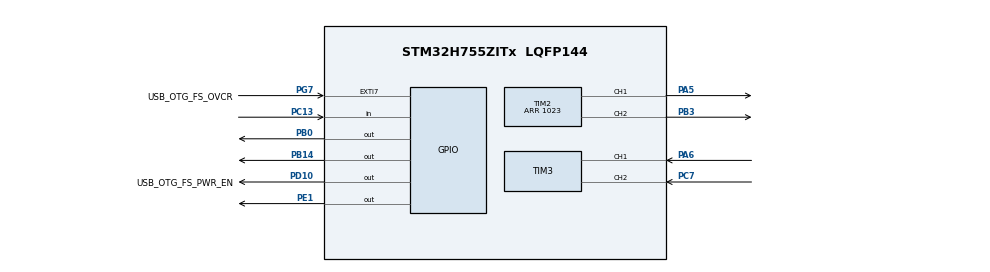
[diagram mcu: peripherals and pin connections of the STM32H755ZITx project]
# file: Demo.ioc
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CortexM4.IPs=FATFS_M4\:I,FREERTOS_M4\:I,IWDG2\:I,RCC,WWDG2\:I,DMA,BDMA,MDMA,NVIC2\:I,ETH,USART3,DEBUG,PDM2PCM_M4\:I,PWR,RESMGR_UTILITY,SYS_M4\:I,USB_DEVICE_M4\:I,USB_HOST_M4\:I,CORTEX_M4\:I,GPIO,OPENAMP_M4\:I,VREFBUF,NUCLEO-H755ZI-Q
CortexM7.IPs=FATFS_M7\:I,FREERTOS_M7\:I,IWDG1\:I,RCC\:I,WWDG1\:I,DMA\:I,BDMA\:I,MDMA\:I,NVIC1\:I,ETH\:I,USART3\:I,USB_OTG_FS\:I,SYS\:I,CORTEX_M7\:I,DEBUG\:I,PDM2PCM_M7\:I,PWR\:I,RESMGR_UTILITY\:I,USB_DEVICE_M7\:I,USB_HOST_M7\:I,GPIO\:I,OPENAMP_M7\:I,VREFBUF\:I,NUCLEO-H755ZI-Q\:I,MEMORYMAP\:I,TIM2\:I,TIM3\:I
Mcu.Family=STM32H7
Mcu.Name=STM32H755ZITx
Mcu.Package=LQFP144
NUCLEO-H755ZI-Q.BUTTON=1
NUCLEO-H755ZI-Q.LD1=true
NUCLEO-H755ZI-Q.LD2=true
NUCLEO-H755ZI-Q.LD3=true
NUCLEO-H755ZI-Q.VCP=true
NVIC1.EXTI15_10_IRQn=true\:0\:0\:false\:false\:true\:false\:true\:true
NVIC1.PriorityGroup=NVIC_PRIORITYGROUP_4
NVIC2.PriorityGroup=NVIC_PRIORITYGROUP_4
PA1.PinAttribute=CortexM7
PA1.Signal=ETH_REF_CLK
PA11.PinAttribute=CortexM7
PA11.Signal=USB_OTG_FS_DM
PA12.PinAttribute=CortexM7
PA12.Signal=USB_OTG_FS_DP
PA2.PinAttribute=CortexM7
PA2.Signal=ETH_MDIO
PA5.PinAttribute=CortexM7
PA5.Signal=S_TIM2_CH1_ETR
PA6.PinAttribute=CortexM7
PA6.Signal=S_TIM3_CH1
PA7.PinAttribute=CortexM7
PA7.Signal=ETH_CRS_DV
PA8.PinAttribute=CortexM7
PA8.Signal=USB_OTG_FS_SOF
PA9.PinAttribute=CortexM7
PA9.Signal=USB_OTG_FS_VBUS
PB0.Signal=GPIO_Output
PB13.PinAttribute=CortexM7
PB13.Signal=ETH_TXD1
PB14.Signal=GPIO_Output
PB3\ (JTDO/TRACESWO).PinAttribute=CortexM7
PB3\ (JTDO/TRACESWO).Signal=S_TIM2_CH2
PC1.PinAttribute=CortexM7
PC1.Signal=ETH_MDC
PC13.Signal=GPIO_Input
PC14-OSC32_IN\ (OSC32_IN).PinAttribute=Free
PC14-OSC32_IN\ (OSC32_IN).Signal=RCC_OSC32_IN
PC15-OSC32_OUT\ (OSC32_OUT).PinAttribute=Free
PC15-OSC32_OUT\ (OSC32_OUT).Signal=RCC_OSC32_OUT
PC4.PinAttribute=CortexM7
PC4.Signal=ETH_RXD0
PC5.PinAttribute=CortexM7
PC5.Signal=ETH_RXD1
PC7.PinAttribute=CortexM7
PC7.Signal=S_TIM3_CH2
PD10.GPIO_Label=USB_OTG_FS_PWR_EN
PD10.PinAttribute=Free
PD10.Signal=GPIO_Output
PD8.Signal=USART3_TX
PD9.Signal=USART3_RX
PE1.Signal=GPIO_Output
PG11.PinAttribute=CortexM7
PG11.Signal=ETH_TX_EN
PG13.PinAttribute=CortexM7
PG13.Signal=ETH_TXD0
PG7.GPIO_Label=USB_OTG_FS_OVCR
PG7.PinAttribute=Free
PG7.Signal=GPXTI7
PH0-OSC_IN\ (PH0).PinAttribute=Free
PH0-OSC_IN\ (PH0).Signal=RCC_OSC_IN
PH1-OSC_OUT\ (PH1).PinAttribute=Free
PH1-OSC_OUT\ (PH1).Signal=RCC_OSC_OUT
ProjectManager.HeapSize=M4-0x200,M7-0x200
ProjectManager.StackSize=M4-0x400,M7-0x400
ProjectManager.TargetToolchain=STM32CubeIDE
RCC.ADCFreq_Value=129000000
RCC.APB1Freq_Value=64000000
RCC.APB2Freq_Value=64000000
RCC.APB3Freq_Value=64000000
RCC.APB4Freq_Value=64000000
RCC.CortexFreq_Value=64000000
RCC.DIVM1=5
RCC.DIVN1=48
RCC.DIVQ1=5
RCC.HCLKFreq_Value=64000000
RCC.PLL2FRACN=0
RCC.PLL3FRACN=0
RCC.PLLFRACN=0
RCC.SYSCLKFreq_VALUE=64000000
RCC.SupplySource=PWR_DIRECT_SMPS_SUPPLY
RCC.USBFreq_Value=122880000
SH.S_TIM2_CH1_ETR.0=TIM2_CH1,PWM Generation1 CH1
SH.S_TIM2_CH2.0=TIM2_CH2,PWM Generation2 CH2
SH.S_TIM3_CH1.0=TIM3_CH1,Encoder_Interface
SH.S_TIM3_CH2.0=TIM3_CH2,Encoder_Interface
TIM2.Channel-PWM\ Generation1\ CH1=TIM_CHANNEL_1
TIM2.Channel-PWM\ Generation2\ CH2=TIM_CHANNEL_2
TIM2.Period=1023
TIM3.EncoderMode=TIM_ENCODERMODE_TI12
VP_MEMORYMAP_VS_MEMORYMAP.Mode=CurAppReg
VP_NUCLEO-H755ZI-Q_VS_BSP_COMMON.Mode=COMMON
VP_SYS_M4_VS_Systick.Mode=SysTick
board=NUCLEO-H755ZI-Q

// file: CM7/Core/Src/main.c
/* USER CODE BEGIN Header */
/**
 ******************************************************************************
 * @file           : main.c
 * @brief          : Main program body
 ******************************************************************************
 * @attention
 *
 * Copyright (c) 2025 STMicroelectronics.
 * All rights reserved.
 *
 * This software is licensed under terms that can be found in the LICENSE file
 * in the root directory of this software component.
 * If no LICENSE file comes with this software, it is provided AS-IS.
 *
 ******************************************************************************
 */
/* USER CODE END Header */
#include "main.h"

/* USER CODE BEGIN Includes */
#include "math.h" // You MUST include math.h for fabs()
/* USER CODE END Includes */

/* USER CODE BEGIN PD */

/* DUAL_CORE_BOOT_SYNC_SEQUENCE: Define for dual core boot synchronization    */
/*                             demonstration code based on hardware semaphore */
/* This define is present in both CM7/CM4 projects                            */
/* To comment when developping/debugging on a single core                     */
#define DUAL_CORE_BOOT_SYNC_SEQUENCE

#if defined(DUAL_CORE_BOOT_SYNC_SEQUENCE)
#ifndef HSEM_ID_0
#define HSEM_ID_0 (0U) /* HW semaphore 0*/
#endif
#endif /* DUAL_CORE_BOOT_SYNC_SEQUENCE */

/* USER CODE END PD */

COM_InitTypeDef BspCOMInit;

TIM_HandleTypeDef htim2;
TIM_HandleTypeDef htim3;

void SystemClock_Config(void);
static void MX_GPIO_Init(void);
static void MX_TIM2_Init(void);
static void MX_TIM3_Init(void);

/* USER CODE BEGIN 0 */
#define DEGREES(raw_count) ((double)((raw_count) % 1203) * (360.0f / 1203.0f))

volatile uint16_t counter = 0;
// --- PID Tuning Constants (MUST BE TUNED!) ---
#define KP 2.5f                // Proportional gain
#define KI 0.1f                // Integral gain
#define KD 0.05f                // Derivative gain
#define TARGET_ANGLE 0.0f    // Your desired setpoint (e.g., 180 degrees)

// --- PID Limits ---
#define MAX_PWM 300.0f         // Max PWM value (from your 300)
#define MAX_INTEGRAL 180.0f    // Anti-windup limit (tune this)
//void HAL_TIM_PeriodElapsedCallback(TIM_HandleTypeDef *htim){
//	counter = __HAL_TIM_GET_COUNTER(htim);
//}

/* USER CODE END 0 */

int main(void) {

	/* USER CODE BEGIN Boot_Mode_Sequence_0 */
#if defined(DUAL_CORE_BOOT_SYNC_SEQUENCE)
	int32_t timeout;
#endif /* DUAL_CORE_BOOT_SYNC_SEQUENCE */
	/* USER CODE END Boot_Mode_Sequence_0 */

	/* USER CODE BEGIN Boot_Mode_Sequence_1 */
#if defined(DUAL_CORE_BOOT_SYNC_SEQUENCE)
	/* Wait until CPU2 boots and enters in stop mode or timeout*/
	timeout = 0xFFFF;
	while ((__HAL_RCC_GET_FLAG(RCC_FLAG_D2CKRDY) != RESET) && (timeout-- > 0))
		;
	if (timeout < 0) {
		Error_Handler();
	}
#endif /* DUAL_CORE_BOOT_SYNC_SEQUENCE */
	/* USER CODE END Boot_Mode_Sequence_1 */
	/* MCU Configuration--------------------------------------------------------*/

	/* Reset of all peripherals, Initializes the Flash interface and the Systick. */
	HAL_Init();

	/* Configure the system clock */
	SystemClock_Config();
	/* USER CODE BEGIN Boot_Mode_Sequence_2 */
#if defined(DUAL_CORE_BOOT_SYNC_SEQUENCE)
	/* When system initialization is finished, Cortex-M7 will release Cortex-M4 by means of
	 HSEM notification */
	/*HW semaphore Clock enable*/
	__HAL_RCC_HSEM_CLK_ENABLE();
	/*Take HSEM */
	HAL_HSEM_FastTake(HSEM_ID_0);
	/*Release HSEM in order to notify the CPU2(CM4)*/
	HAL_HSEM_Release(HSEM_ID_0, 0);
	/* wait until CPU2 wakes up from stop mode */
	timeout = 0xFFFF;
	while ((__HAL_RCC_GET_FLAG(RCC_FLAG_D2CKRDY) == RESET) && (timeout-- > 0))
		;
	if (timeout < 0) {
		Error_Handler();
	}
#endif /* DUAL_CORE_BOOT_SYNC_SEQUENCE */
	/* USER CODE END Boot_Mode_Sequence_2 */

	/* Initialize all configured peripherals */
	MX_GPIO_Init();
	MX_TIM2_Init();
	MX_TIM3_Init();
	/* USER CODE BEGIN 2 */

	BSP_PB_Init(BUTTON_USER, BUTTON_MODE_GPIO);

	HAL_TIM_PWM_Start(&htim2, TIM_CHANNEL_1);
	HAL_TIM_PWM_Start(&htim2, TIM_CHANNEL_2);

	__HAL_TIM_SET_COMPARE(&htim2, TIM_CHANNEL_1, 0);
	__HAL_TIM_SET_COMPARE(&htim2, TIM_CHANNEL_2, 0);
	counter = DEGREES(__HAL_TIM_GET_COUNTER(&htim3));

	/* USER CODE END 2 */

	/* Initialize leds */
	BSP_LED_Init(LED_GREEN);
	BSP_LED_Init(LED_YELLOW);
	BSP_LED_Init(LED_RED);

	/* Initialize USER push-button, will be used to trigger an interrupt each time it's pressed.*/
	BSP_PB_Init(BUTTON_USER, BUTTON_MODE_EXTI);

	/* Initialize COM1 port (115200, 8 bits (7-bit data + 1 stop bit), no parity */
	BspCOMInit.BaudRate = 115200;
	BspCOMInit.WordLength = COM_WORDLENGTH_8B;
	BspCOMInit.StopBits = COM_STOPBITS_1;
	BspCOMInit.Parity = COM_PARITY_NONE;
	BspCOMInit.HwFlowCtl = COM_HWCONTROL_NONE;
	if (BSP_COM_Init(COM1, &BspCOMInit) != BSP_ERROR_NONE) {
		Error_Handler();
	}

	/* Infinite loop */
	while (1) {

		/* USER CODE BEGIN 3 */

		//HAL_Delay(5);
		counter = DEGREES(__HAL_TIM_GET_COUNTER(&htim3));

		if (BSP_PB_GetState(BUTTON_USER) != GPIO_PIN_RESET) {
			HAL_Delay(25);
			if (BSP_PB_GetState(BUTTON_USER) != GPIO_PIN_RESET) {
				__HAL_TIM_SET_COMPARE(&htim2, TIM_CHANNEL_1, 0);
				__HAL_TIM_SET_COMPARE(&htim2, TIM_CHANNEL_2, 300);
				while (BSP_PB_GetState(BUTTON_USER) != GPIO_PIN_RESET) {
					counter = DEGREES(__HAL_TIM_GET_COUNTER(&htim3));
					HAL_Delay(25);
				}
			} else
				;

		}
		// PID MODE
		counter = DEGREES(__HAL_TIM_GET_COUNTER(&htim3));

		if ((counter < 2) || (counter > 357)) {
			__HAL_TIM_SET_COMPARE(&htim2, TIM_CHANNEL_1, 0);
			__HAL_TIM_SET_COMPARE(&htim2, TIM_CHANNEL_2, 0);
		}

		counter = DEGREES(__HAL_TIM_GET_COUNTER(&htim3));

		if (counter >= 180) {
			__HAL_TIM_SET_COMPARE(&htim2, TIM_CHANNEL_1, 200);
			__HAL_TIM_SET_COMPARE(&htim2, TIM_CHANNEL_2, 0);

		} else {
			__HAL_TIM_SET_COMPARE(&htim2, TIM_CHANNEL_1, 0);
			__HAL_TIM_SET_COMPARE(&htim2, TIM_CHANNEL_2, 200);

		}
	}
		/* USER CODE END 3 */
	}

	/**
	 * @brief System Clock Configuration
	 * @retval None
	 */
	void SystemClock_Config(void) {
		RCC_OscInitTypeDef RCC_OscInitStruct = { 0 };
		RCC_ClkInitTypeDef RCC_ClkInitStruct = { 0 };

		/** Supply configuration update enable
		 */
		HAL_PWREx_ConfigSupply(PWR_DIRECT_SMPS_SUPPLY);

		/** Configure the main internal regulator output voltage
		 */
		__HAL_PWR_VOLTAGESCALING_CONFIG(PWR_REGULATOR_VOLTAGE_SCALE3);

		while (!__HAL_PWR_GET_FLAG(PWR_FLAG_VOSRDY)) {
		}

		/** Initializes the RCC Oscillators according to the specified parameters
		 * in the RCC_OscInitTypeDef structure.
		 */
		RCC_OscInitStruct.OscillatorType = RCC_OSCILLATORTYPE_HSI;
		RCC_OscInitStruct.HSIState = RCC_HSI_DIV1;
		RCC_OscInitStruct.HSICalibrationValue = RCC_HSICALIBRATION_DEFAULT;
		RCC_OscInitStruct.PLL.PLLState = RCC_PLL_NONE;
		if (HAL_RCC_OscConfig(&RCC_OscInitStruct) != HAL_OK) {
			Error_Handler();
		}

		/** Initializes the CPU, AHB and APB buses clocks
		 */
		RCC_ClkInitStruct.ClockType = RCC_CLOCKTYPE_HCLK | RCC_CLOCKTYPE_SYSCLK
				| RCC_CLOCKTYPE_PCLK1 | RCC_CLOCKTYPE_PCLK2
				| RCC_CLOCKTYPE_D3PCLK1 | RCC_CLOCKTYPE_D1PCLK1;
		RCC_ClkInitStruct.SYSCLKSource = RCC_SYSCLKSOURCE_HSI;
		RCC_ClkInitStruct.SYSCLKDivider = RCC_SYSCLK_DIV1;
		RCC_ClkInitStruct.AHBCLKDivider = RCC_HCLK_DIV1;
		RCC_ClkInitStruct.APB3CLKDivider = RCC_APB3_DIV1;
		RCC_ClkInitStruct.APB1CLKDivider = RCC_APB1_DIV1;
		RCC_ClkInitStruct.APB2CLKDivider = RCC_APB2_DIV1;
		RCC_ClkInitStruct.APB4CLKDivider = RCC_APB4_DIV1;

		if (HAL_RCC_ClockConfig(&RCC_ClkInitStruct, FLASH_LATENCY_1)
				!= HAL_OK) {
			Error_Handler();
		}
	}

	/**
	 * @brief TIM2 Initialization Function
	 * @param None
	 * @retval None
	 */
	static void MX_TIM2_Init(void) {

		TIM_MasterConfigTypeDef sMasterConfig = { 0 };
		TIM_OC_InitTypeDef sConfigOC = { 0 };

		htim2.Instance = TIM2;
		htim2.Init.Prescaler = 0;
		htim2.Init.CounterMode = TIM_COUNTERMODE_UP;
		htim2.Init.Period = 1023;
		htim2.Init.ClockDivision = TIM_CLOCKDIVISION_DIV1;
		htim2.Init.AutoReloadPreload = TIM_AUTORELOAD_PRELOAD_DISABLE;
		if (HAL_TIM_PWM_Init(&htim2) != HAL_OK) {
			Error_Handler();
		}
		sMasterConfig.MasterOutputTrigger = TIM_TRGO_RESET;
		sMasterConfig.MasterSlaveMode = TIM_MASTERSLAVEMODE_DISABLE;
		if (HAL_TIMEx_MasterConfigSynchronization(&htim2, &sMasterConfig)
				!= HAL_OK) {
			Error_Handler();
		}
		sConfigOC.OCMode = TIM_OCMODE_PWM1;
		sConfigOC.Pulse = 0;
		sConfigOC.OCPolarity = TIM_OCPOLARITY_HIGH;
		sConfigOC.OCFastMode = TIM_OCFAST_DISABLE;
		if (HAL_TIM_PWM_ConfigChannel(&htim2, &sConfigOC, TIM_CHANNEL_1)
				!= HAL_OK) {
			Error_Handler();
		}
		if (HAL_TIM_PWM_ConfigChannel(&htim2, &sConfigOC, TIM_CHANNEL_2)
				!= HAL_OK) {
			Error_Handler();
		}
		HAL_TIM_MspPostInit(&htim2);

	}

	/**
	 * @brief TIM3 Initialization Function
	 * @param None
	 * @retval None
	 */
	static void MX_TIM3_Init(void) {

		TIM_Encoder_InitTypeDef sConfig = { 0 };
		TIM_MasterConfigTypeDef sMasterConfig = { 0 };

		htim3.Instance = TIM3;
		htim3.Init.Prescaler = 0;
		htim3.Init.CounterMode = TIM_COUNTERMODE_UP;
		htim3.Init.Period = 65535;
		htim3.Init.ClockDivision = TIM_CLOCKDIVISION_DIV1;
		htim3.Init.AutoReloadPreload = TIM_AUTORELOAD_PRELOAD_DISABLE;
		sConfig.EncoderMode = TIM_ENCODERMODE_TI12;
		sConfig.IC1Polarity = TIM_ICPOLARITY_RISING;
		sConfig.IC1Selection = TIM_ICSELECTION_DIRECTTI;
		sConfig.IC1Prescaler = TIM_ICPSC_DIV1;
		sConfig.IC1Filter = 0;
		sConfig.IC2Polarity = TIM_ICPOLARITY_RISING;
		sConfig.IC2Selection = TIM_ICSELECTION_DIRECTTI;
		sConfig.IC2Prescaler = TIM_ICPSC_DIV1;
		sConfig.IC2Filter = 0;
		if (HAL_TIM_Encoder_Init(&htim3, &sConfig) != HAL_OK) {
			Error_Handler();
		}
		sMasterConfig.MasterOutputTrigger = TIM_TRGO_RESET;
		sMasterConfig.MasterSlaveMode = TIM_MASTERSLAVEMODE_DISABLE;
		if (HAL_TIMEx_MasterConfigSynchronization(&htim3, &sMasterConfig)
				!= HAL_OK) {
			Error_Handler();
		}
		/* USER CODE BEGIN TIM3_Init 2 */
		HAL_TIM_Encoder_Start(&htim3, TIM_CHANNEL_ALL);
		/* USER CODE END TIM3_Init 2 */

	}

	/**
	 * @brief GPIO Initialization Function
	 * @param None
	 * @retval None
	 */
	static void MX_GPIO_Init(void) {
		GPIO_InitTypeDef GPIO_InitStruct = { 0 };

		/* GPIO Ports Clock Enable */
		__HAL_RCC_GPIOC_CLK_ENABLE();
		__HAL_RCC_GPIOA_CLK_ENABLE();
		__HAL_RCC_GPIOB_CLK_ENABLE();
		__HAL_RCC_GPIOG_CLK_ENABLE();

		/*Configure GPIO pins : PC1 PC4 PC5 */
		GPIO_InitStruct.Pin = GPIO_PIN_1 | GPIO_PIN_4 | GPIO_PIN_5;
		GPIO_InitStruct.Mode = GPIO_MODE_AF_PP;
		GPIO_InitStruct.Pull = GPIO_NOPULL;
		GPIO_InitStruct.Speed = GPIO_SPEED_FREQ_LOW;
		GPIO_InitStruct.Alternate = GPIO_AF11_ETH;
		HAL_GPIO_Init(GPIOC, &GPIO_InitStruct);

		/*Configure GPIO pins : PA1 PA2 PA7 */
		GPIO_InitStruct.Pin = GPIO_PIN_1 | GPIO_PIN_2 | GPIO_PIN_7;
		GPIO_InitStruct.Mode = GPIO_MODE_AF_PP;
		GPIO_InitStruct.Pull = GPIO_NOPULL;
		GPIO_InitStruct.Speed = GPIO_SPEED_FREQ_LOW;
		GPIO_InitStruct.Alternate = GPIO_AF11_ETH;
		HAL_GPIO_Init(GPIOA, &GPIO_InitStruct);

		/*Configure GPIO pin : PB13 */
		GPIO_InitStruct.Pin = GPIO_PIN_13;
		GPIO_InitStruct.Mode = GPIO_MODE_AF_PP;
		GPIO_InitStruct.Pull = GPIO_NOPULL;
		GPIO_InitStruct.Speed = GPIO_SPEED_FREQ_LOW;
		GPIO_InitStruct.Alternate = GPIO_AF11_ETH;
		HAL_GPIO_Init(GPIOB, &GPIO_InitStruct);

		/*Configure GPIO pins : PA8 PA11 PA12 */
		GPIO_InitStruct.Pin = GPIO_PIN_8 | GPIO_PIN_11 | GPIO_PIN_12;
		GPIO_InitStruct.Mode = GPIO_MODE_AF_PP;
		GPIO_InitStruct.Pull = GPIO_NOPULL;
		GPIO_InitStruct.Speed = GPIO_SPEED_FREQ_LOW;
		GPIO_InitStruct.Alternate = GPIO_AF10_OTG1_FS;
		HAL_GPIO_Init(GPIOA, &GPIO_InitStruct);

		/*Configure GPIO pins : PG11 PG13 */
		GPIO_InitStruct.Pin = GPIO_PIN_11 | GPIO_PIN_13;
		GPIO_InitStruct.Mode = GPIO_MODE_AF_PP;
		GPIO_InitStruct.Pull = GPIO_NOPULL;
		GPIO_InitStruct.Speed = GPIO_SPEED_FREQ_LOW;
		GPIO_InitStruct.Alternate = GPIO_AF11_ETH;
		HAL_GPIO_Init(GPIOG, &GPIO_InitStruct);

	}

	/**
	 * @brief  This function is executed in case of error occurrence.
	 * @retval None
	 */
	void Error_Handler(void) {
		__disable_irq();
		while (1) {
		}
	}
